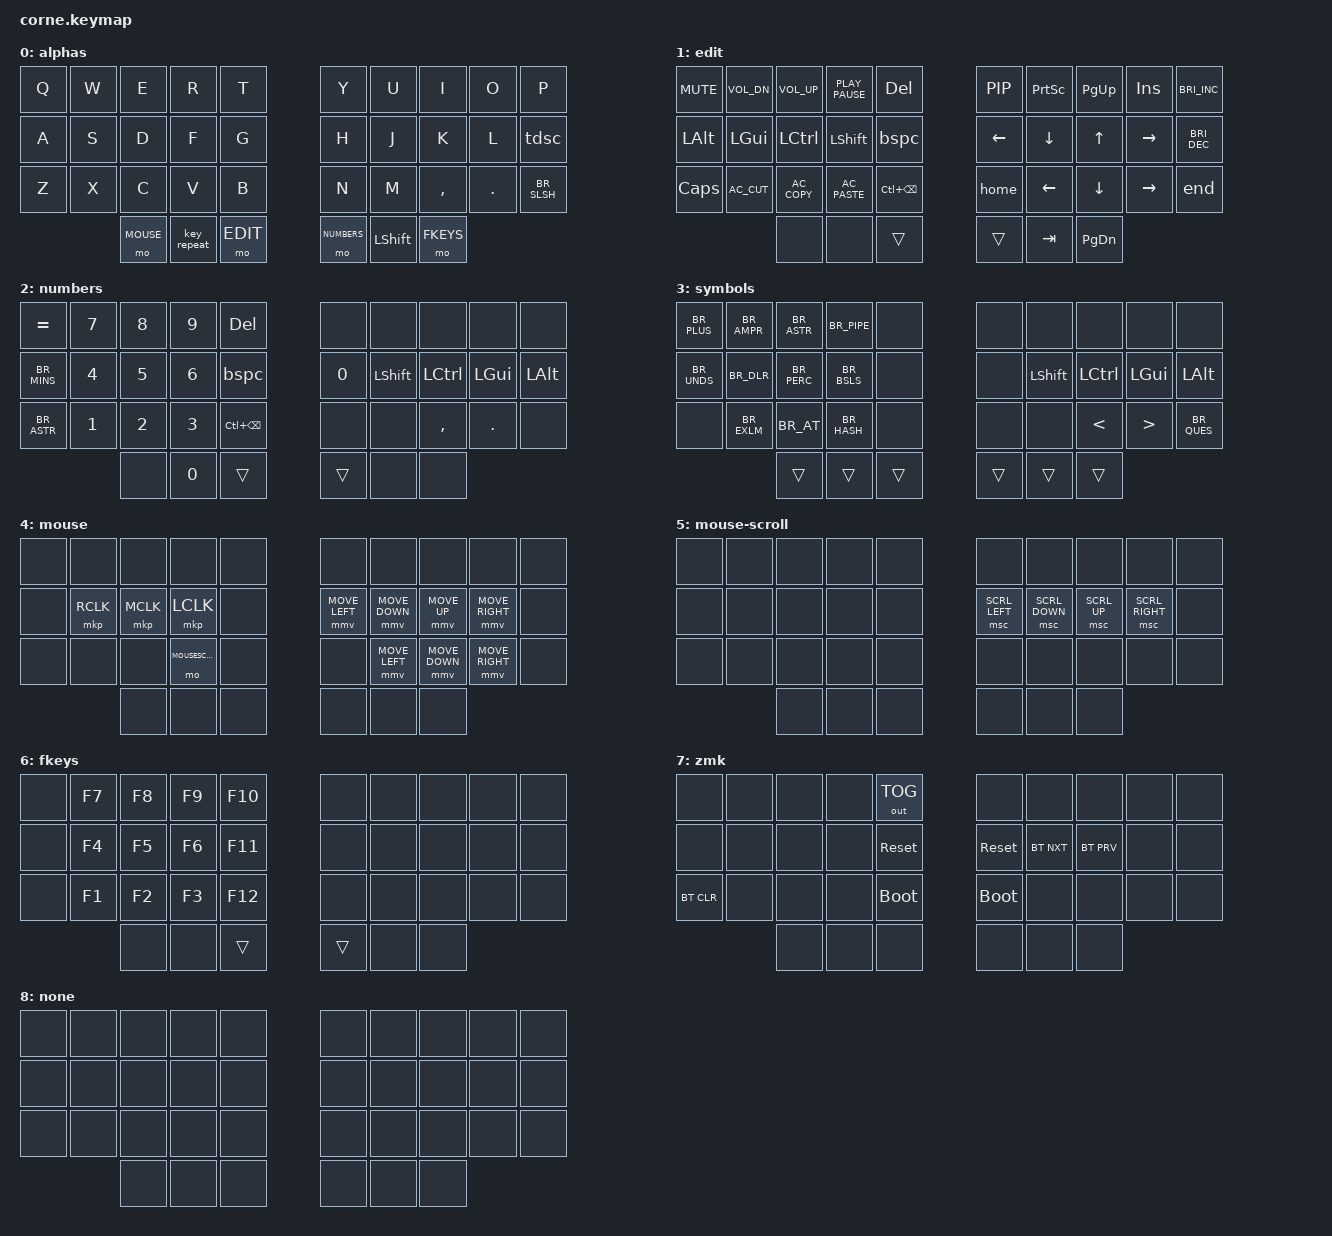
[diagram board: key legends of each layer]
/*
 * Copyright (c) 2020 The ZMK Contributors
 *
 * SPDX-License-Identifier: MIT
 */

#include <behaviors.dtsi>
#include <dt-bindings/zmk/keys.h>
#include <dt-bindings/zmk/bt.h>
#include <dt-bindings/zmk/outputs.h>
#include <dt-bindings/zmk/pointing.h>

// keymap-drawer config: https://github.com/caksoylar/keymap-drawer?tab=readme-ov-file#zmk-locale-headers
#ifndef KEYMAP_DRAWER
#include "keys_abnt2.h"
#endif

/* Layers */
#define ALPHAS 0
#define EDIT 1
#define NUMBERS 2
#define SYMBOLS 3
#define MOUSE 4
#define MOUSESCRROLL 5
#define FKEYS 6
#define ZMK 7

/* Shortcuts */
//L_ stands for LOCAL, this is to avoid redefinition warnings during the build
#define L_CUT LS(DEL)
#define L_COPY LC(INS)
#define PASTE LS(INS)
#define L_UNDO LC(Z)
#define ALL LC(A)

/* Mod Sequence (Outer to Inner) */
#define M0 LALT
#define M1 LSHFT
#define M2 LGUI
#define M3 LC

&caps_word {
    continue-list = <UNDERSCORE MINUS BACKSPACE DELETE>;
};

/ {
        chosen { zmk,matrix_transform = &five_column_transform; };

        conditional_layers {
            compatible = "zmk,conditional-layers";
            tri_layer {
                if-layers = <EDIT NUMBERS>;
                then-layer = <SYMBOLS>;
            };
        };

        behaviors {
            paste: paste_with_values {
                compatible = "zmk,behavior-mod-morph";
                #binding-cells = <0>;
                bindings = <&kp PASTE>, <&kp LC(LS(V))>;
                mods = <(MOD_LSFT|MOD_RSFT)>;
            };
            home: home_ignoring_ctrl {
                compatible = "zmk,behavior-mod-morph";
                #binding-cells = <0>;
                bindings = <&kp HOME>, <&kp HOME>;
                mods = <(MOD_LCTL|MOD_RCTL)>;
            };
            end: end_ignoring_ctrl {
                compatible = "zmk,behavior-mod-morph";
                #binding-cells = <0>;
                bindings = <&kp END>, <&kp END>;
                mods = <(MOD_LCTL|MOD_RCTL)>;
            };
            bspc: backspace_delete {
                compatible = "zmk,behavior-mod-morph";
                #binding-cells = <0>;
                bindings = <&kp BSPC>, <&kp DEL>;
                mods = <(MOD_LSFT|MOD_RSFT)>;
            };
            plus: plus_zoom {
                compatible = "zmk,behavior-mod-morph";
                #binding-cells = <0>;
                bindings = <&kp PLUS>, <&kp LC(EQUAL)>;
                mods = <(MOD_LCTL|MOD_RCTL)>;
            };
            tdsc: tap_dance_semi_column {
                compatible = "zmk,behavior-tap-dance";
                #binding-cells = <0>;
                tapping-term-ms = <200>;
                bindings = <&kp FSLH>, <&kp BR_COLN>;
            };
        };

        combos {
                compatible = "zmk,combos";
        /*                KEY POSITIONS

             0   1   2   3   4      5   6   7   8   9
            10  11  12  13  14     15  16  17  18  19
            20  21  22  23  24     25  26  27  28  29
                    30  31  32     33  34  35          */
          combo_zmk_layer_toggle {
                    timeout-ms = <50>;
                    key-positions = <0 1 2 3>;
                    bindings = <&tog ZMK>;
                    layers = <SYMBOLS ZMK>;
          };

          combo_caps_word {
                    timeout-ms = <50>;
                    key-positions = <13 16>;
                    bindings = <&caps_word>;
                    layers = <ALPHAS>;
          };

          combo_l_shift {
                    timeout-ms = <50>;
                    key-positions = <33 16>;
                    bindings = <&sk LSHIFT>;
                    layers = <ALPHAS>;
          };

          combo_l_ctrl {
                    timeout-ms = <50>;
                    key-positions = <33 17>;
                    bindings = <&sk LCTRL>;
                    layers = <ALPHAS>;
          };

          combo_l_gui {
                    timeout-ms = <50>;
                    key-positions = <33 18>;
                    bindings = <&sk LGUI>;
                    layers = <ALPHAS>;
          };

          combo_l_alt {
                    timeout-ms = <50>;
                    key-positions = <33 19>;
                    bindings = <&sk LALT>;
                    layers = <ALPHAS>;
          };

          combo_r_shift {
                    timeout-ms = <50>;
                    key-positions = <32 13>;
                    bindings = <&sk LSHIFT>;
                    layers = <ALPHAS>;
          };

          combo_r_ctrl {
                    timeout-ms = <50>;
                    key-positions = <32 12>;
                    bindings = <&sk LCTRL>;
                    layers = <ALPHAS>;
          };

          combo_r_gui {
                    timeout-ms = <50>;
                    key-positions = <32 11>;
                    bindings = <&sk LGUI>;
                    layers = <ALPHAS>;
          };

          combo_r_alt {
                    timeout-ms = <50>;
                    key-positions = <32 10>;
                    bindings = <&sk LALT>;
                    layers = <ALPHAS>;
          };

          // Portugueese accentuation combos
          combo_acute {
                    timeout-ms = <50>;
                    key-positions = <27 28>;
                    bindings = <&kp BR_ACUT>;
                    layers = <ALPHAS>;
          };
          combo_grave {
                    timeout-ms = <50>;
                    key-positions = <26 27>;
                    bindings = <&kp BR_GRV>;
                    layers = <ALPHAS>;
          };
          combo_tilde {
                    timeout-ms = <50>;
                    key-positions = <26 27 28>;
                    bindings = <&kp BR_TILD>;
                    layers = <ALPHAS>;
          };
          combo_circ {
                    timeout-ms = <50>;
                    key-positions = <26 28>;
                    bindings = <&kp BR_CIRC>;
                    layers = <ALPHAS>;
          };

          /* Parenteses: ( and ) */
          combo_lbrc { key-positions = <3 13>; bindings = <&kp BR_LPRN>; layers = <ALPHAS>; };
          combo_rbrc { key-positions = <6 16>; bindings = <&kp BR_RPRN>; layers = <ALPHAS>; };
          
          /* Brackets: { and } */
          combo_lbkt { key-positions = <1 11>; bindings = <&kp BR_LCBR>; layers = <ALPHAS>; };
          combo_rbkt { key-positions = <8 18>; bindings = <&kp BR_RCBR>; layers = <ALPHAS>; };

          /* Braces: [ and ] */
          combo_lpar { key-positions = <2 12>; bindings = <&kp BR_LBRC>; layers = <ALPHAS>; };
          combo_rpar { key-positions = <7 17>; bindings = <&kp BR_RBRC>; layers = <ALPHAS>; };

          /* Quotes */
          combo_single_quote { key-positions = <4 14>; bindings = <&kp BR_DQUO>; layers = <ALPHAS>; };
          combo_double_quote { key-positions = <5 15>; bindings = <&kp BR_QUOT>; layers = <ALPHAS>; };

          /* ç */
          combo_cedilla { key-positions = <21 22>; bindings = <&kp SEMI>; };

          /* Convenience */
          combo_esc { key-positions = <16 17>; bindings = <&kp ESC>; };
          combo_space {
                    timeout-ms = <50>;
                    key-positions = <16 17 18>;
                    bindings = <&kp SPACE>;
          };
          combo_enter {
                    timeout-ms = <50>;
                    key-positions = <6 7 8>;
                    bindings = <&kp RET>;
          };
          combo_backspace {
                    timeout-ms = <50>;
                    key-positions = <11 12 13>;
                    bindings = <&kp BSPC>;
          };
          combo_ctl_backspace {
                    timeout-ms = <50>;
                    key-positions = <10 11 12 13>;
                    bindings = <&kp LC(BSPC)>;
          };
          /* combo_krepeat { key-positions = <26 27>; bindings = <&key_repeat>; }; */

          combo_tmux_prefix {
                    timeout-ms = <50>;
                    key-positions = <12 13>;
                    bindings = <&kp LC(SPACE)>;
          };

        };    

        keymap {
                compatible = "zmk,keymap";

                alphas_layer {
                        display-name = "alphas";
                        bindings = <
   &kp Q  &kp W  &kp E      &kp R        &kp T               &kp Y        &kp U       &kp I      &kp O   &kp P         
   &kp A  &kp S  &kp D      &kp F        &kp G               &kp H        &kp J       &kp K      &kp L   &tdsc  
   &kp Z  &kp X  &kp C      &kp V        &kp B               &kp N        &kp M       &kp COMMA  &kp DOT &kp BR_SLSH       
                 &mo MOUSE  &key_repeat  &mo EDIT            &mo NUMBERS  &kp LSHIFT  &mo FKEYS
                        >;
                };

                edit_layer {
                        display-name = "edit";
                        bindings = <
   &kp K_MUTE  &kp K_VOL_DN  &kp K_VOL_UP   &kp K_PLAY_PAUSE  &kp DEL              &kp C_PIP  &kp PRINTSCREEN  &kp PG_UP &kp INSERT  &kp C_BRIGHTNESS_INC
   &kp LALT    &kp LGUI      &kp LCTRL      &kp LSHIFT        &bspc                &kp LEFT   &kp DOWN         &kp UP    &kp RIGHT   &kp C_BRIGHTNESS_DEC
   &kp CAPS    &kp C_AC_CUT  &kp C_AC_COPY  &kp C_AC_PASTE    &kp LC(BSPC)         &home      &kp LEFT         &kp DOWN  &kp RIGHT   &end
                             &none          &none             &trans               &trans     &kp TAB          &kp PG_DN
                        >;
                };

                numbers_layer {
                        display-name = "numbers";
                        bindings = <
   &kp EQUAL    &kp N7  &kp N8  &kp N9  &kp DEL               &none    &none       &none      &none     &none         
   &kp BR_MINS  &kp N4  &kp N5  &kp N6  &bspc                 &kp N0   &kp LSHIFT  &kp LCTRL  &kp LGUI  &kp LALT  
   &kp BR_ASTR  &kp N1  &kp N2  &kp N3  &kp LC(BSPC)          &none    &none       &kp COMMA  &kp DOT   &none       
                        &none   &kp N0  &trans                &trans   &none       &none
                        >;
                };

                symbols_layer {
                        display-name = "symbols";
                        bindings = <
   &kp BR_PLUS  &kp BR_AMPR  &kp BR_ASTR  &kp BR_PIPE  &none               &none   &none        &none        &none     &none         
   &kp BR_UNDS  &kp BR_DLR   &kp BR_PERC  &kp BR_BSLS  &none               &none   &kp LSHIFT   &kp LCTRL    &kp LGUI  &kp LALT  
   &none        &kp BR_EXLM  &kp BR_AT    &kp BR_HASH  &none               &none   &none        &kp LT       &kp GT    &kp BR_QUES       
                             &trans       &trans       &trans              &trans  &trans       &trans
                        >;
                };

                mouse_layer {
                        display-name = "mouse";
                        bindings = <
   &none  &none      &none      &none             &none            &none           &none           &none           &none            &none         
   &none  &mkp RCLK  &mkp MCLK  &mkp LCLK         &none            &mmv MOVE_LEFT  &mmv MOVE_DOWN  &mmv MOVE_UP    &mmv MOVE_RIGHT  &none  
   &none  &none      &none      &mo MOUSESCRROLL  &none            &none           &mmv MOVE_LEFT  &mmv MOVE_DOWN  &mmv MOVE_RIGHT  &none       
                     &none      &none             &none            &none           &none           &none
                        >;
                };

                mouse_scroll_layer {
                        display-name = "mouse-scroll";
                        bindings = <
   &none  &none  &none  &none  &none       &none           &none           &none           &none            &none         
   &none  &none  &none  &none  &none       &msc SCRL_LEFT  &msc SCRL_DOWN  &msc SCRL_UP    &msc SCRL_RIGHT  &none       
   &none  &none  &none  &none  &none       &none           &none           &none           &none            &none  
                 &none  &none  &none       &none           &none           &none
                        >;
                };

                fkeys_layer {
                        display-name = "fkeys";
                        bindings = <
   &none    &kp F7  &kp F8  &kp F9  &kp F10        &none   &none  &none  &none  &none         
   &none    &kp F4  &kp F5  &kp F6  &kp F11        &none   &none  &none  &none  &none  
   &none    &kp F1  &kp F2  &kp F3  &kp F12        &none   &none  &none  &none  &none       
                    &none   &none   &trans         &trans  &none  &none
                        >;
                };

                // This layer will have behaviours ralated to the ZMK firmware controll
                // Bluetooth pairing settings
                // Reset and debug mode
                // Output controll toggle
                zmk_control_layer {
                        display-name = "zmk";
                        bindings = <
   &none       &none  &none  &none  &out OUT_TOG       &none       &none       &none       &none  &none         
   &none       &none  &none  &none  &sys_reset         &sys_reset  &bt BT_NXT  &bt BT_PRV  &none  &none  
   &bt BT_CLR  &none  &none  &none  &bootloader        &bootloader &none       &none       &none  &none       
                      &none  &none  &none              &none       &none       &none
                        >;
                };

                none_layer {
                        display-name = "none";
                        bindings = <
   &none  &none  &none  &none  &none       &none  &none  &none  &none  &none         
   &none  &none  &none  &none  &none       &none  &none  &none  &none  &none  
   &none  &none  &none  &none  &none       &none  &none  &none  &none  &none       
                 &none  &none  &none       &none  &none  &none
                        >;
                };

        };
};
